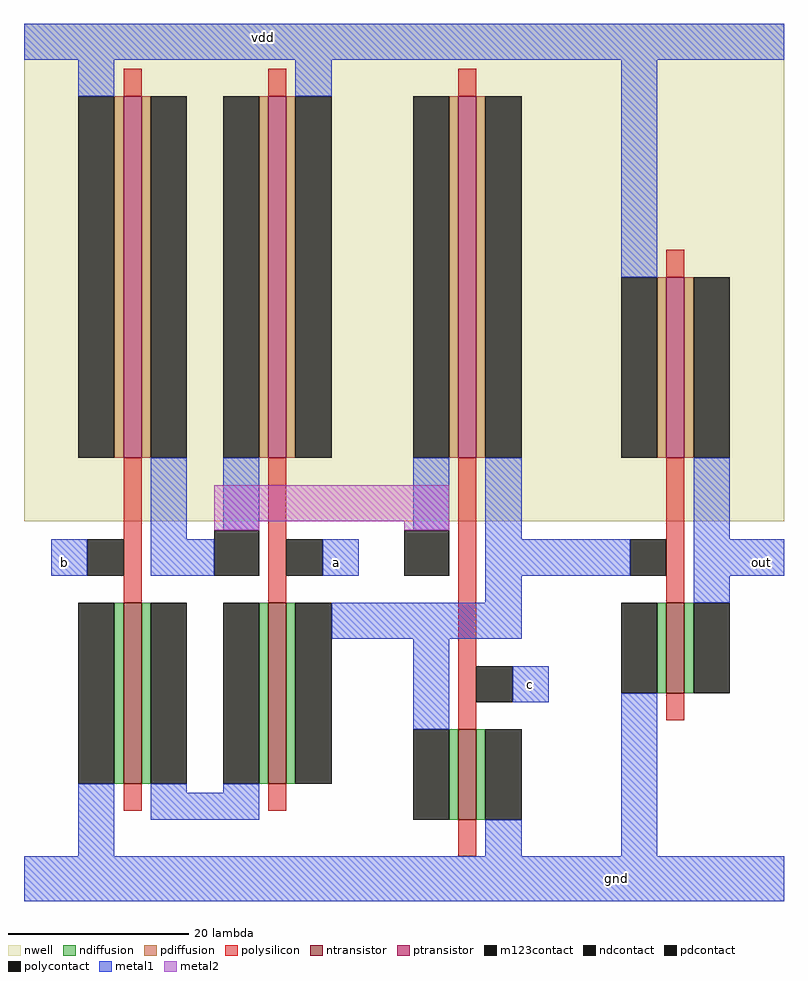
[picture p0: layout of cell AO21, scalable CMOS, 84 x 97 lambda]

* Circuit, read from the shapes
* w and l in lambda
.subckt AO21 a b c gnd out vdd
M1 n1 b gnd VSUBS nfet w=20 l=2
M2 n2 a n1 VSUBS nfet w=20 l=2
M3 gnd c n2 VSUBS nfet w=10 l=2
M4 out n2 gnd VSUBS nfet w=10 l=2
M5 n3 b vdd n4 pfet w=40 l=2
M6 vdd a n3 n4 pfet w=40 l=2
M7 n2 c n3 n4 pfet w=40 l=2
M8 out n2 vdd n4 pfet w=20 l=2
.ends

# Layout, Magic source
magic
tech scmos
<< nwell >>
rect -67 0 17 55
<< ntransistor >>
rect -56 -29 -54 -9
rect -40 -29 -38 -9
rect 4 -19 6 -9
rect -19 -33 -17 -23
<< ptransistor >>
rect -56 7 -54 47
rect -40 7 -38 47
rect -19 7 -17 47
rect 4 7 6 27
<< ndiffusion >>
rect -57 -29 -56 -9
rect -54 -29 -53 -9
rect -41 -29 -40 -9
rect -38 -29 -37 -9
rect 3 -19 4 -9
rect 6 -19 7 -9
rect -20 -33 -19 -23
rect -17 -33 -16 -23
<< pdiffusion >>
rect -57 7 -56 47
rect -54 7 -53 47
rect -41 7 -40 47
rect -38 7 -37 47
rect -20 7 -19 47
rect -17 7 -16 47
rect 3 7 4 27
rect 6 7 7 27
<< ndcontact >>
rect -61 -29 -57 -9
rect -53 -29 -49 -9
rect -45 -29 -41 -9
rect -37 -29 -33 -9
rect -1 -19 3 -9
rect 7 -19 11 -9
rect -24 -33 -20 -23
rect -16 -33 -12 -23
<< pdcontact >>
rect -61 7 -57 47
rect -53 7 -49 47
rect -45 7 -41 47
rect -37 7 -33 47
rect -24 7 -20 47
rect -16 7 -12 47
rect -1 7 3 27
rect 7 7 11 27
<< polysilicon >>
rect -56 47 -54 50
rect -40 47 -38 50
rect -19 47 -17 50
rect 4 27 6 30
rect -56 -9 -54 7
rect -40 -9 -38 7
rect -19 -23 -17 7
rect 4 -9 6 7
rect 4 -22 6 -19
rect -56 -32 -54 -29
rect -40 -32 -38 -29
rect -19 -37 -17 -33
<< polycontact >>
rect -60 -6 -56 -2
rect -38 -6 -34 -2
rect 0 -6 4 -2
rect -17 -20 -13 -16
<< metal1 >>
rect -67 51 17 55
rect -61 47 -57 51
rect -37 47 -33 51
rect -53 -2 -49 7
rect -45 -1 -41 7
rect -24 -1 -20 7
rect -64 -6 -60 -2
rect -53 -6 -46 -2
rect -34 -6 -30 -2
rect -1 27 3 51
rect -16 -2 -12 7
rect 7 -2 11 7
rect -16 -6 0 -2
rect 7 -6 17 -2
rect -16 -9 -12 -6
rect 7 -9 11 -6
rect -61 -37 -57 -29
rect -53 -30 -49 -29
rect -33 -13 -12 -9
rect -24 -23 -20 -13
rect -13 -20 -9 -16
rect -45 -30 -41 -29
rect -53 -33 -41 -30
rect -16 -37 -12 -33
rect -1 -37 3 -19
rect -67 -42 17 -37
<< metal2 >>
rect -46 0 -20 4
rect -46 -1 -41 0
rect -25 -1 -20 0
<< m123contact >>
rect -46 -6 -41 -1
rect -25 -6 -20 -1
<< labels >>
rlabel metal1 -33 -5 -32 -4 1 a
rlabel metal1 -63 -5 -62 -4 3 b
rlabel metal1 -11 -18 -11 -18 1 c
rlabel metal1 -41 53 -40 54 5 vdd
rlabel metal1 14 -5 15 -4 7 out
rlabel metal1 -2 -40 -1 -39 1 gnd
<< end >>
